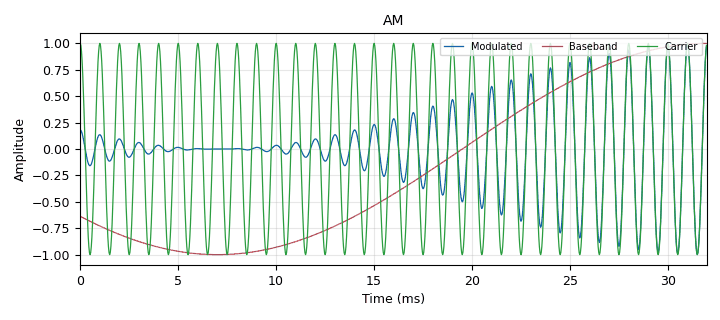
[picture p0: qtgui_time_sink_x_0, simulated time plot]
options:
  parameters:
    generate_options: qt_gui
    id: am
    output_language: python
    title: Amplitude modulation
  states: {}

blocks:
- name: samp_rate
  id: variable
  parameters:
    value: '32000'
  states: {}
- name: analog_const_source_x_0
  id: analog_const_source_x
  parameters:
    const: '2'
    type: float
  states: {}
- name: analog_const_source_x_0_0
  id: analog_const_source_x
  parameters:
    const: '2'
    type: float
  states: {}
- name: analog_sig_source_x_0
  id: analog_sig_source_x
  parameters:
    amp: '1'
    freq: '20'
    offset: '0'
    phase: '0'
    samp_rate: samp_rate
    type: float
    waveform: analog.GR_COS_WAVE
  states: {}
- name: analog_sig_source_x_1
  id: analog_sig_source_x
  parameters:
    amp: '1'
    freq: '1000'
    offset: '0'
    phase: '0'
    samp_rate: samp_rate
    type: float
    waveform: analog.GR_COS_WAVE
  states: {}
- name: blocks_add_const_vxx_0
  id: blocks_add_const_vxx
  parameters:
    const: '1'
    type: float
  states: {}
- name: blocks_add_const_vxx_1
  id: blocks_add_const_vxx
  parameters:
    const: '-1'
    type: float
  states: {}
- name: blocks_divide_xx_0
  id: blocks_divide_xx
  parameters:
    type: float
  states: {}
- name: blocks_multiply_xx_0
  id: blocks_multiply_xx
  parameters:
    type: float
  states: {}
- name: blocks_multiply_xx_0_0
  id: blocks_multiply_xx
  parameters:
    type: float
  states: {}
- name: blocks_throttle_0
  id: blocks_throttle
  parameters:
    samples_per_second: samp_rate
    type: float
  states: {}
- name: qtgui_time_sink_x_0
  id: qtgui_time_sink_x
  parameters:
    autoscale: 'True'
    ctrlpanel: 'True'
    label1: Modulated
    label2: Baseband
    label3: Carrier
    name: AM
    nconnections: '3'
    size: '1024'
    srate: samp_rate
    type: float
  states: {}

connections:
- [analog_const_source_x_0, '0', blocks_divide_xx_0, '1']
- [analog_const_source_x_0_0, '0', blocks_multiply_xx_0_0, '0']
- [analog_sig_source_x_0, '0', blocks_add_const_vxx_0, '0']
- [analog_sig_source_x_1, '0', blocks_multiply_xx_0, '1']
- [analog_sig_source_x_1, '0', qtgui_time_sink_x_0, '2']
- [blocks_add_const_vxx_0, '0', blocks_divide_xx_0, '0']
- [blocks_add_const_vxx_1, '0', qtgui_time_sink_x_0, '1']
- [blocks_divide_xx_0, '0', blocks_multiply_xx_0, '0']
- [blocks_divide_xx_0, '0', blocks_multiply_xx_0_0, '1']
- [blocks_multiply_xx_0, '0', blocks_throttle_0, '0']
- [blocks_multiply_xx_0_0, '0', blocks_add_const_vxx_1, '0']
- [blocks_throttle_0, '0', qtgui_time_sink_x_0, '0']

metadata:
  file_format: 1
